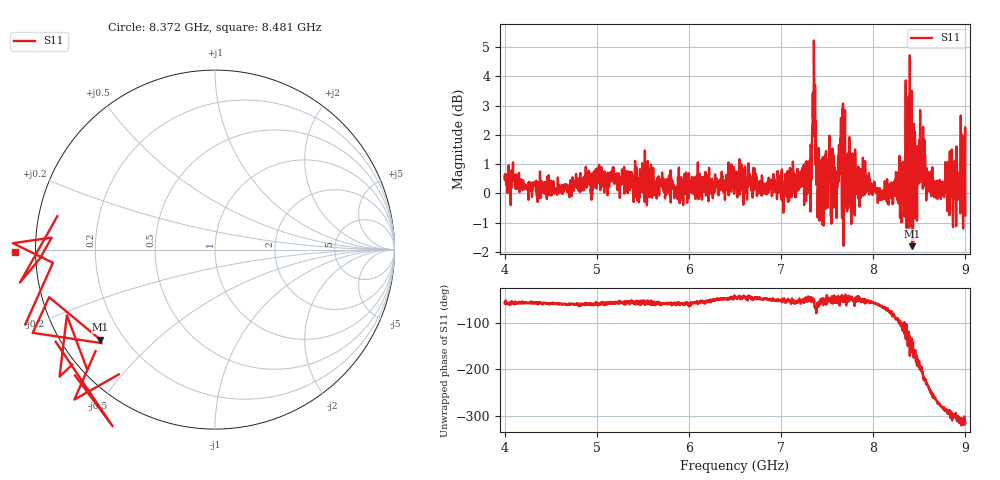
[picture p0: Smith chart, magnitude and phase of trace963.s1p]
! Created with skrf 1.8.0 (http://scikit-rf.org).
# Hz S RI R 50.0
!freq ReS11 ImS11
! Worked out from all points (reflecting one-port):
!   1601 points, 4 GHz to 9 GHz, reference 50 ohm
!   lowest |S11| = -1.8 dB at 8.422 GHz (marker M1), VSWR 9.66, Z = 5.78 - j17 ohm
!   phase of S11 starts at -57 deg and turns -258 deg over the sweep
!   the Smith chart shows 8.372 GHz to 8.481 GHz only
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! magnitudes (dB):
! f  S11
! 4 GHz  0.5
! 4.625 GHz  0.0
! 5.25 GHz  -0.2
! 5.875 GHz  -0.1
! 6.5 GHz  0.2
! 7.125 GHz  0.2
! 7.294 GHz  0.6
! 7.316 GHz  -0.3
! 7.353 GHz  2.1
! 7.369 GHz  3.7
! 7.397 GHz  -0.8
! 7.409 GHz  -0.3
! 7.509 GHz  -0.2
! 7.591 GHz  0.6
! 7.65 GHz  2.6
! 7.703 GHz  0.9
! 7.75 GHz  0.8
! 8.097 GHz  0.1
! 8.259 GHz  0.5
! 8.316 GHz  -0.1
! 8.375 GHz  0.2
! 8.412 GHz  -0.9
! 8.422 GHz  -1.8
! 8.481 GHz  1.0
! 8.522 GHz  1.7
! 8.703 GHz  0.2
! 8.972 GHz  0.5
! 9 GHz  -0.8
